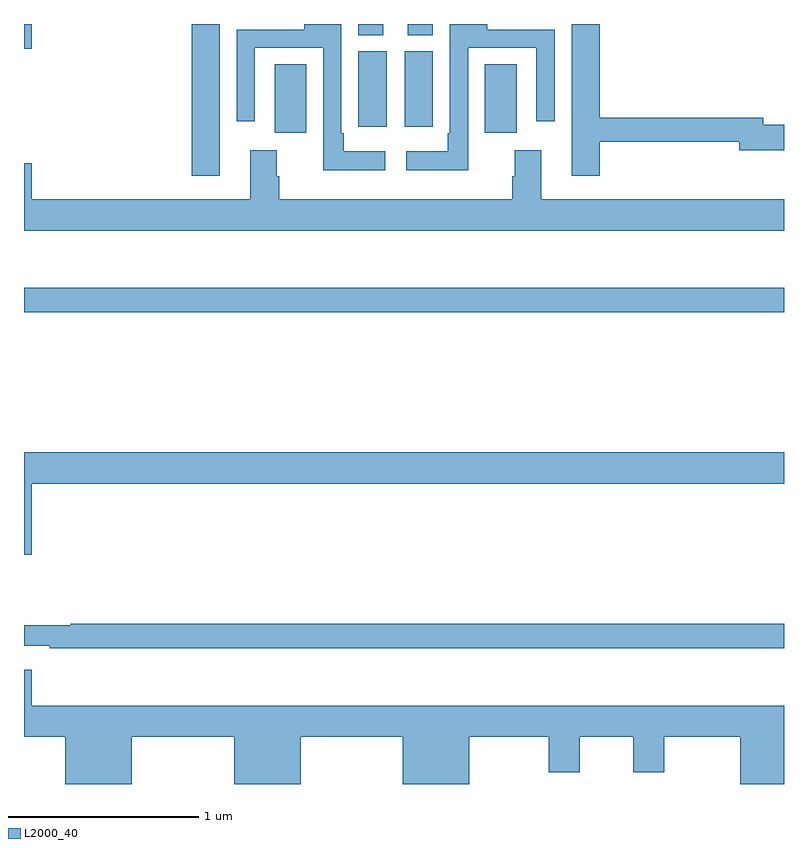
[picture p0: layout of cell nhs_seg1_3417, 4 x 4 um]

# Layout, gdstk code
import gdstk
lib = gdstk.Library(unit=1e-6, precision=1e-09)
def R(c, l, rs):  # rectangles x0, y0, x1, y1
    for r in rs: c.add(gdstk.rectangle(r[:2], r[2:], *l))
def P(c, l, *ps):  # polygons
    for p in ps: c.add(gdstk.Polygon(p, *l))
L2000_40 = (2000, 40)

nhs_seg1_3417 = lib.new_cell('nhs_seg1_3417')
R(nhs_seg1_3417, L2000_40, [(297,504.682,301,504.811), (297.884,505.401,298.03,506.199), (298.319,505.626,298.486,505.988), (299.426,505.626,299.593,505.988), (298.76,505.659,298.909,506.055), (299.003,505.659,299.152,506.055), (297,506.07,297.04,506.199), (298.76,506.14,298.891,506.199), (299.021,506.14,299.152,506.199)])
P(nhs_seg1_3417, L2000_40, [(299.337,506.073),(299.697,506.073),(299.697,505.686),(299.793,505.686),(299.793,506.169),(299.437,506.169),(299.437,506.199),(299.241,506.199),(299.241,505.624),(299.229,505.624),(299.229,505.528),(299.013,505.528),(299.013,505.43),(299.337,505.43)],
  [(298.9,505.528),(298.684,505.528),(298.684,505.624),(298.671,505.624),(298.671,506.199),(298.475,506.199),(298.475,506.169),(298.119,506.169),(298.119,505.686),(298.215,505.686),(298.215,506.073),(298.575,506.073),(298.575,505.43),(298.9,505.43)],
  [(300.029,505.578),(300.764,505.578),(300.764,505.535),(301,505.535),(301,505.67),(300.892,505.67),(300.892,505.706),(300.029,505.706),(300.029,506.199),(299.882,506.199),(299.882,505.401),(300.029,505.401)],
  [(301,505.276),(299.722,505.276),(299.722,505.534),(299.582,505.534),(299.582,505.397),(299.57,505.397),(299.57,505.276),(298.343,505.276),(298.343,505.397),(298.33,505.397),(298.33,505.534),(298.19,505.534),(298.19,505.276),(297.04,505.276),(297.04,505.465),(297,505.465),(297,505.112),(301,505.112)],
  [(297.04,503.78),(301,503.78),(301,503.944),(297,503.944),(297,503.406),(297.04,503.406)],
  [(301,503.042),(297.245,503.042),(297.245,503.035),(297,503.035),(297,502.926),(297.136,502.926),(297.136,502.914),(301,502.914)],
  [(297.568,502.448),(298.106,502.448),(298.106,502.199),(298.456,502.199),(298.456,502.448),(298.994,502.448),(298.994,502.199),(299.344,502.199),(299.344,502.448),(299.762,502.448),(299.762,502.26),(299.926,502.26),(299.926,502.448),(300.206,502.448),(300.206,502.26),(300.37,502.26),(300.37,502.448),(300.77,502.448),(300.77,502.199),(301,502.199),(301,502.612),(297.04,502.612),(297.04,502.801),(297,502.801),(297,502.448),(297.218,502.448),(297.218,502.199),(297.568,502.199)])

lib.write_gds('nhs_seg1_3417.gds')
